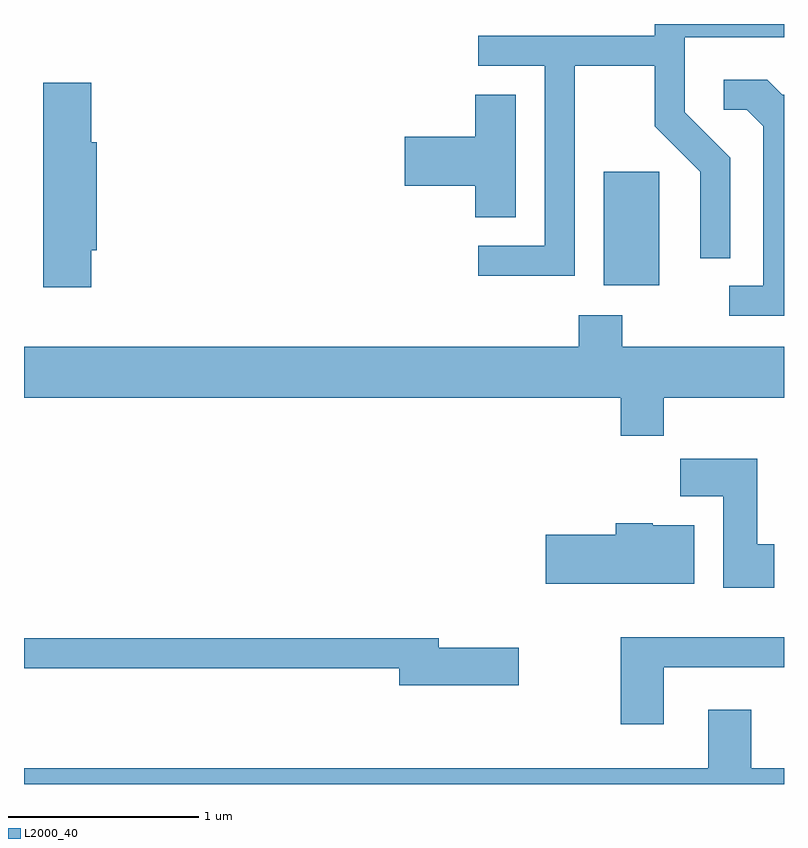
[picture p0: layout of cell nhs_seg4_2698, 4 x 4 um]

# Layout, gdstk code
import gdstk
lib = gdstk.Library(unit=1e-6, precision=1e-09)
def R(c, l, rs):  # rectangles x0, y0, x1, y1
    for r in rs: c.add(gdstk.rectangle(r[:2], r[2:], *l))
def P(c, l, *ps):  # polygons
    for p in ps: c.add(gdstk.Polygon(p, *l))
L2000_40 = (2000, 40)

nhs_seg4_2698 = lib.new_cell('nhs_seg4_2698')
R(nhs_seg4_2698, L2000_40, [(266.661,1348.606,266.954,1349.204)])
P(nhs_seg4_2698, L2000_40, [(266.509,1349.761),(266.931,1349.761),(266.931,1349.444),(267.171,1349.204),(267.171,1348.748),(267.329,1348.748),(267.329,1349.277),(267.089,1349.517),(267.089,1349.911),(267.611,1349.911),(267.611,1349.982),(266.931,1349.982),(266.931,1349.919),(266.003,1349.919),(266.003,1349.761),(266.351,1349.761),(266.351,1348.814),(266.003,1348.814),(266.003,1348.656),(266.509,1348.656)],
  [(267.611,1349.609),(267.602,1349.609),(267.522,1349.689),(267.293,1349.689),(267.293,1349.531),(267.414,1349.531),(267.501,1349.444),(267.501,1348.604),(267.323,1348.604),(267.323,1348.446),(267.611,1348.446)],
  [(263.964,1348.791),(263.994,1348.791),(263.994,1349.359),(263.964,1349.359),(263.964,1349.674),(263.711,1349.674),(263.711,1348.596),(263.964,1348.596)],
  [(266.199,1349.609),(265.986,1349.609),(265.986,1349.389),(265.616,1349.389),(265.616,1349.131),(265.986,1349.131),(265.986,1348.966),(266.199,1348.966)],
  [(266.979,1348.016),(267.611,1348.016),(267.611,1348.284),(266.759,1348.284),(266.759,1348.449),(266.531,1348.449),(266.531,1348.284),(263.611,1348.284),(263.611,1348.016),(266.751,1348.016),(266.751,1347.816),(266.979,1347.816)],
  [(267.559,1347.244),(267.469,1347.244),(267.469,1347.694),(267.066,1347.694),(267.066,1347.496),(267.291,1347.496),(267.291,1347.016),(267.559,1347.016)],
  [(267.139,1347.344),(266.92,1347.344),(266.92,1347.354),(266.726,1347.354),(266.726,1347.294),(266.356,1347.294),(266.356,1347.036),(267.139,1347.036)],
  [(266.979,1346.596),(267.611,1346.596),(267.611,1346.754),(266.751,1346.754),(266.751,1346.296),(266.979,1346.296)],
  [(266.214,1346.699),(265.794,1346.699),(265.794,1346.749),(263.611,1346.749),(263.611,1346.591),(265.586,1346.591),(265.586,1346.501),(266.214,1346.501)],
  [(267.611,1346.064),(267.439,1346.064),(267.439,1346.374),(267.211,1346.374),(267.211,1346.064),(263.611,1346.064),(263.611,1345.982),(267.611,1345.982)])

lib.write_gds('nhs_seg4_2698.gds')
